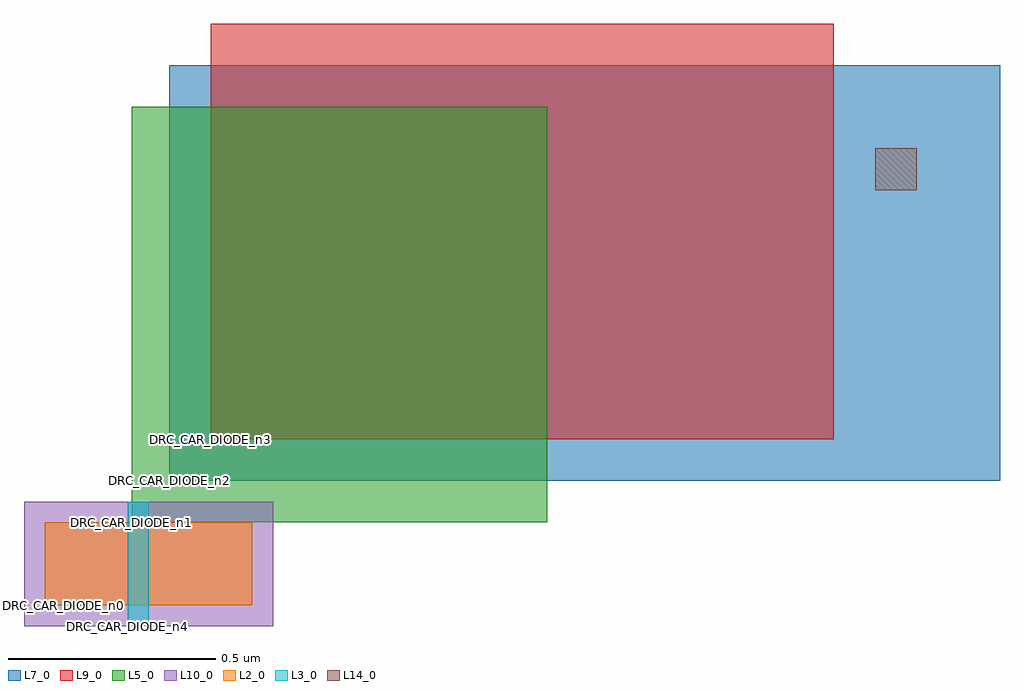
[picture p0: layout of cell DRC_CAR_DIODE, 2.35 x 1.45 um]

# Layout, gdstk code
import gdstk
lib = gdstk.Library(unit=1e-6, precision=1e-09)
def R(c, l, rs):  # rectangles x0, y0, x1, y1
    for r in rs: c.add(gdstk.rectangle(r[:2], r[2:], *l))
L2_0 = (2, 0)
L3_0 = (3, 0)
L5_0 = (5, 0)
L7_0 = (7, 0)
L9_0 = (9, 0)
L10_0 = (10, 0)
L14_0 = (14, 0)

drc_car_diode = lib.new_cell('DRC_CAR_DIODE')
R(drc_car_diode, L2_0, [(0,0,0.5,0.2)])
R(drc_car_diode, L3_0, [(0.2,-0.05,0.25,0.25)])
R(drc_car_diode, L5_0, [(0.21,0.2,1.21,1.2)])
R(drc_car_diode, L7_0, [(0.3,0.3,2.3,1.3)])
R(drc_car_diode, L9_0, [(0.4,0.4,1.9,1.4)])
R(drc_car_diode, L10_0, [(-0.05,-0.05,0.55,0.25)])
R(drc_car_diode, L14_0, [(2,1,2.1,1.1)])
drc_car_diode.add(gdstk.Label('DRC_CAR_DIODE_n0', (0,0), layer=2, texttype=5))
drc_car_diode.add(gdstk.Label('DRC_CAR_DIODE_n1', (0.21,0.2), layer=5, texttype=5))
drc_car_diode.add(gdstk.Label('DRC_CAR_DIODE_n2', (0.3,0.3), layer=7, texttype=5))
drc_car_diode.add(gdstk.Label('DRC_CAR_DIODE_n3', (0.4,0.4), layer=9, texttype=5))
drc_car_diode.add(gdstk.Label('DRC_CAR_DIODE_n4', (0.2,-0.05), layer=3, texttype=5))

lib.write_gds('DRC_CAR_DIODE.gds')
